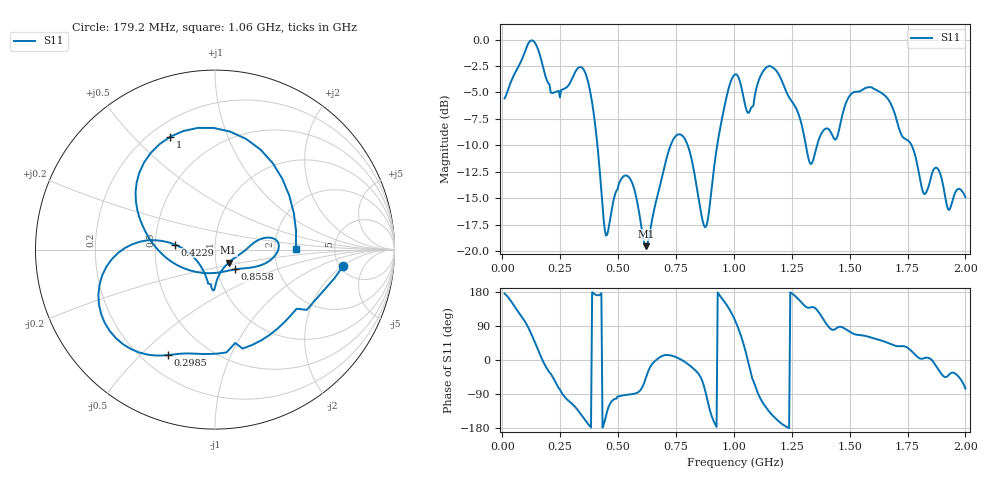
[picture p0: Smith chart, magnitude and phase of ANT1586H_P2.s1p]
!Created with skrf (http://scikit-rf.org).
# Hz S RI R 50.0
!freq ReS11 ImS11
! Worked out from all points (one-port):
!   401 points, 10 MHz to 2 GHz, reference 50 ohm
!   lowest |S11| = -19.5 dB at 621.9 MHz (marker M1), VSWR 1.24, Z = 57.5 - j8.51 ohm
!   |S11| at or under -10 dB: 410.8 MHz to 727.2 MHz (316.4 MHz wide, 55.6 % of centre); 800.6 MHz to 928.1 MHz (127.5 MHz wide, 14.8 % of centre); 1.768 GHz to end of sweep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
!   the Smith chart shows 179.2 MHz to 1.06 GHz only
!   S11 on the Smith chart (normalised r, x): 179.2 MHz: 5.31, -2.04; 298.6 MHz: 0.30, -0.61; 422.9 MHz: 0.63, +0.04; 855.8 MHz: 1.22, -0.28; 1 GHz: 0.28, +0.64; 1.06 GHz: 2.64, +0.02
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1e7  -0.5246 0.0434
6.4725e7  -0.4719 0.5531
1.14475e8  0.1185 0.9592
1.493e8  0.7651 0.5237
1.7915e8  0.7129 -0.0926
2.5875e8  0.0135 -0.5794
2.9855e8  -0.2601 -0.5875
3.5825e8  -0.6498 -0.2501
4.22925e8  -0.2233 0.028
4.52775e8  -0.0852 -0.0833
5.075e8  -0.0193 -0.2117
6.21925e8  0.0758 -0.0732
7.5625e8  0.3527 0.0367
8.5575e8  0.112 -0.1101
8.856e8  -0.0371 -0.1316
9.5525e8  -0.4213 0.1785
1.000025e9  -0.2485 0.6292
1.005e9  -0.177 0.6605
1.029875e9  0.2535 0.5572
1.059725e9  0.4507 0.00371
1.119425e9  -0.2006 -0.6563
1.17415e9  -0.6343 -0.359
1.25375e9  -0.501 0.0484
1.33335e9  -0.1947 0.1686
1.5025e9  0.1527 0.5243
1.75125e9  0.2827 0.1763
1.8209e9  0.1856 0.0153
2e9  0.0457 -0.1736
